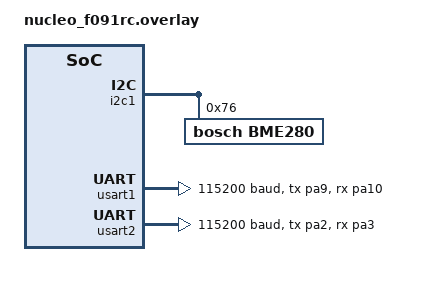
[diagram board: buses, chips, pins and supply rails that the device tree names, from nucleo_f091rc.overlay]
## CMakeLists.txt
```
# SPDX-License-Identifier: Apache-2.0
cmake_minimum_required(VERSION 3.20.0)

find_package(Zephyr REQUIRED HINTS $ENV{ZEPHYR_BASE})
project(WeatherStation)

# Voeg alle source-bestanden toe
target_sources(app PRIVATE
  src/main.c
  src/sensor.c
  src/uart_comm.c
)

# Voeg src directory toe voor headers
target_include_directories(app PRIVATE src)
```

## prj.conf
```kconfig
# --- Console en UART ---
CONFIG_SERIAL=y
CONFIG_UART_CONSOLE=y
CONFIG_CONSOLE=y
CONFIG_PRINTK=y
CONFIG_EARLY_CONSOLE=y

# --- Float support voor printk ---
CONFIG_CBPRINTF_FP_SUPPORT=y
CONFIG_NEWLIB_LIBC=y
CONFIG_NEWLIB_LIBC_FLOAT_PRINTF=y

# --- Vergroot console buffers (tegen message drops) ---
CONFIG_PRINTK_BUFFER_SIZE=4096
CONFIG_LOG_BUFFER_SIZE=4096

# --- UART drivers ---
CONFIG_UART_INTERRUPT_DRIVEN=y
CONFIG_UART_USE_RUNTIME_CONFIGURE=y
CONFIG_UART_STM32=y

# --- I2C en BME280 sensor ---
CONFIG_I2C=y
CONFIG_SENSOR=y
CONFIG_BME280=y

# --- GPIO ---
CONFIG_GPIO=y

# --- Threads / stack ---
CONFIG_MAIN_THREAD_PRIORITY=7
CONFIG_MAIN_STACK_SIZE=4096

# --- Logging (optioneel, voor extra debug) ---
CONFIG_LOG=y
CONFIG_LOG_DEFAULT_LEVEL=3
```

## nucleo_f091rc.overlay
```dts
&i2c1 {
    status = "okay";

    bme280@76 {
        compatible = "bosch,bme280";
        reg = <0x76>;
        label = "BME280";
    };
};


/ {
    chosen {
        zephyr,console = &usart2;  // Console op USART2 (ST-Link)
        zephyr,shell-uart = &usart2;
    };
};

&usart1 {
    status = "okay";
    current-speed = <115200>;
    pinctrl-0 = <&usart1_tx_pa9 &usart1_rx_pa10>;
    pinctrl-names = "default";
};

&usart2 {
    status = "okay";
    current-speed = <115200>;
    pinctrl-0 = <&usart2_tx_pa2 &usart2_rx_pa3>;
    pinctrl-names = "default";
};
```

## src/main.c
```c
/**
 * @file main.c
 * @brief Main application file for the Zephyr-based weather station.
 *
 * This file initializes the UART communication with the ESP8266 WiFi module,
 * connects to a WiFi network, reads environmental sensor data from a BME280 sensor,
 * and periodically sends the measurements to a remote server over HTTP.
 *
 * @details
 * The main loop performs the following steps:
 * 1. Ensures the WiFi module is connected.
 * 2. Reads temperature, humidity, and pressure data.
 * 3. Converts the sensor readings to floating-point values.
 * 4. Sends the data to the server via an HTTP GET request.
 *
 * The loop repeats every `SLEEP_TIME_MS` milliseconds.
 */

#include <zephyr/kernel.h>
#include <zephyr/device.h>
#include <zephyr/sys/printk.h>
#include "sensor.h"
#include "uart_comm.h"

/** @brief WiFi network SSID. */
#define WIFI_SSID "iPhone van Daan"
/** @brief WiFi network password. */
#define WIFI_PASSWORD "yeahyeahyeah"

/** @brief IP address of the remote server. */
#define SERVER_IP "172.20.10.2"
/** @brief Port of the remote server. */
#define SERVER_PORT 3000

/** @brief Delay between sensor data transmissions in milliseconds. */
#define SLEEP_TIME_MS 10000 

/**
 * @brief Main entry point for the weather station application.
 *
 * Initializes UART, connects to WiFi, continuously reads sensor data,
 * and sends it to the configured server.
 *
 * @return This function never returns.
 */

void main(void)
{
    struct sensor_value temp, hum, pres;
    float temp_float, hum_float, pres_float;
    int wifi_status;
    int ret;

    printk("\n=== Weather Station Starting ===\n");

    // Initialiseer UART communicatie met ESP8266
    while (!uart_comm_init()) {
        printk("Failed to initialize UART\n");
    }
    k_sleep(K_MSEC(2000));

    // WiFi Connectie
    uart_send_at_command("AT+CWMODE=1");
    k_sleep(K_MSEC(1000));

    wifi_connect(WIFI_SSID, WIFI_PASSWORD);

    printk("\n=== Starting main loop ===\n");

    while (1) {
         
        // Check WiFi status
        if (!wifi_is_connected()) {
            printk("\nWifi not connected, attempting reconnect\n");
            wifi_connect(WIFI_SSID, WIFI_PASSWORD);
            continue;
        }

        // Lees sensor data
        sensor_thread(&temp, &hum, &pres);

        // Converteer sensor_value naar float
        temp_float = temp.val1 + (temp.val2 / 1000000.0f);
        hum_float = hum.val1 + (hum.val2 / 1000000.0f);
        pres_float = pres.val1 + (pres.val2 / 1000000.0f);

        // Stuur data naar server via HTTP GET
        ret = http_send_sensor_data(SERVER_IP, SERVER_PORT, 
                                     temp_float, hum_float, pres_float);
        
        if (ret != 0) {
            printk("Failed to send data to server\n");
        } 

        k_sleep(K_MSEC(SLEEP_TIME_MS));
    }
}
```

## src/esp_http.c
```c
/**
 * @file esp_http.c
 * @brief Implementation of basic HTTP communication via ESP8266 AT commands.
 */

#include "esp_http.h"
#include <string.h>
 

void esp_connect_wifi(const char* ssid, const char* password) {
    // Set ESP in station mode
    printf("AT+CWMODE=1\r\n");
    // Wait for OK...

    // Connect to WiFi
    printf("AT+CWJAP=\"%s\",\"%s\"\r\n", ssid, password);
    // Wait for "WIFI CONNECTED" and "WIFI GOT IP"
}


void esp_send_get(const char* ip, int port, const char* path) {
    char cmd[256];
    int len;

    // Start TCP connection
    printf("AT+CIPSTART=\"TCP\",\"%s\",%d\r\n", ip, port);
    // Wait for CONNECT

    // Build GET request
    len = snprintf(cmd, sizeof(cmd),
                   "GET %s HTTP/1.1\r\n"
                   "Host: %s:%d\r\n"
                   "Connection: close\r\n\r\n",
                   path, ip, port);

    // Send length
    printf("AT+CIPSEND=%d\r\n", len);
    // Wait for '>'

    // Send GET-request
    printf("%s", cmd);
}
```

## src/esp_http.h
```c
/**
 * @file esp_http.h
 * @brief Simple ESP8266 HTTP client using AT commands.
 *
 * This module provides basic WiFi connection and HTTP GET functionality
 * for an ESP8266 module via UART AT commands.
 *
 * @date 2025-10-27
 * @author Rik
 */

#ifndef WIFI_COMM_H
#define WIFI_COMM_H

#include <zephyr/kernel.h>
#include <stdbool.h>

/**
 * @brief Initialiseer de UART en verbind met WiFi.
 */
void wifi_connect(void);

#endif // WIFI_COMM_H
#ifndef ESP_HTTP_H
#define ESP_HTTP_H

#include <stdio.h>

/**
 * @brief Connect to a WiFi network using the ESP8266.
 *
 * Sends AT commands to configure the ESP8266 and connect to the specified network.
 *
 * @param ssid WiFi SSID (network name)
 * @param password WiFi password
 */
void esp_connect_wifi(const char* ssid, const char* password);

/**
 * @brief Send an HTTP GET request through the ESP8266.
 *
 * Opens a TCP connection and transmits an HTTP GET request to the given IP and port.
 *
 * @param ip Server IP address
 * @param port Server TCP port (e.g., 3000)
 * @param path URL path including query parameters (e.g., "/data?temp=20&hum=70&pres=999")
 */
void esp_send_get(const char* ip, int port, const char* path);

#endif // ESP_HTTP_H
```

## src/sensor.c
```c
/**
 * @file sensor.c
 * @brief Sensor interface implementation for the BME280 environmental sensor.
 *
 * This module handles sensor reading and data retrieval for temperature,
 * humidity, and pressure using the Zephyr sensor API.
 */

#include <zephyr/kernel.h>
#include <zephyr/device.h>
#include <zephyr/devicetree.h>
#include <zephyr/drivers/sensor.h>
#include <zephyr/sys/printk.h>
#include "sensor.h"

/**
 * @brief Read temperature, humidity, and pressure values from the BME280 sensor.
 *
 * @param[out] temp Pointer to store the temperature reading.
 * @param[out] hum  Pointer to store the humidity reading.
 * @param[out] pres Pointer to store the pressure reading.
 *
 * @note This function blocks until all sensor channels have been fetched.
 * It assumes a BME280 sensor is present and ready.
 */

void sensor_thread(struct sensor_value *temp,
                   struct sensor_value *hum,
                   struct sensor_value *pres)
{
    const struct device *dev = DEVICE_DT_GET_ANY(bosch_bme280);

    if (!dev || !device_is_ready(dev)) {
        printk("Error: BME280 device not ready\n");
        return;
    }

    if (sensor_sample_fetch(dev) < 0 ||
        sensor_channel_get(dev, SENSOR_CHAN_AMBIENT_TEMP, temp) < 0 ||
        sensor_channel_get(dev, SENSOR_CHAN_HUMIDITY, hum) < 0 ||
        sensor_channel_get(dev, SENSOR_CHAN_PRESS, pres) < 0) {
        printk("Failed to read sensor\n");
        return;
    }
}
```

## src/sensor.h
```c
#ifndef SENSOR_H
#define SENSOR_H

#include <zephyr/drivers/sensor.h>

void sensor_thread(struct sensor_value *temp,
                   struct sensor_value *hum,
                   struct sensor_value *pres);

#endif
```

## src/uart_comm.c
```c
/**
 * @file uart_comm.c
 * @brief UART communication and WiFi interface using ESP8266.
 *
 * This module implements UART communication with the ESP8266 WiFi module,
 * including sending AT commands, establishing WiFi connections, and
 * transmitting sensor data via HTTP requests.
 */
#include "uart_comm.h"
#include <zephyr/kernel.h>
#include <zephyr/device.h>
#include <zephyr/drivers/uart.h>
#include <zephyr/sys/printk.h>
#include <string.h>

// UART1 device (PA9/PA10 - verbonden met ESP8266)
static const struct device *uart_esp;

// Buffer voor ontvangen data
#define RX_BUFFER_SIZE 512
static char rx_buffer[RX_BUFFER_SIZE];
static volatile size_t rx_index = 0;
static K_SEM_DEFINE(rx_sem, 0, 1);

/**
 * @brief UART interrupt service routine for ESP8266 communication.
 *
 * Handles incoming UART data, stores it in the receive buffer,
 * and releases a semaphore when a newline character is received.
 *
 * @param dev Pointer to UART device.
 * @param user_data Unused.
 */
static void uart_isr(const struct device *dev, void *user_data)
{
    uint8_t c;
    
    if (!uart_irq_update(dev)) {
        return;
    }

    // Lees alle beschikbare bytes in één keer
    while (uart_irq_rx_ready(dev)) {
        if (uart_fifo_read(dev, &c, 1) == 1) {
            // Sla op in buffer
            if (rx_index < RX_BUFFER_SIZE - 1) {
                rx_buffer[rx_index++] = c;
                
                // Print direct naar console (geen buffering)
                printk("%c", c);
                
                // Als we een newline ontvangen, geef semafoor vrij
                if (c == '\n') {
                    k_sem_give(&rx_sem);
                }
            }
        }
    }
}

/**
 * @brief Initialize UART communication with the ESP8266 module.
 *
 * @return 1 on success, 0 if the UART device is not ready.
 */

int uart_comm_init(void)
{
    // Haal UART1 device op
    uart_esp = DEVICE_DT_GET(DT_NODELABEL(usart1));
    
    if (!device_is_ready(uart_esp)) {
        printk("Error: UART1 device not ready\n");
        return 0;
    }
    // Configureer interrupt callback
    uart_irq_callback_user_data_set(uart_esp, uart_isr, NULL);
    uart_irq_rx_enable(uart_esp);
    
    return 1;
}

/**
 * @brief Send an AT command over UART to the ESP8266.
 *
 * @param cmd Null-terminated AT command string (without \r\n).
 * @return 0 on success.
 */
int uart_send_at_command(const char *cmd)
{

    // Reset receive buffer
    rx_index = 0;
    memset(rx_buffer, 0, RX_BUFFER_SIZE);

    // Stuur het commando
    for (size_t i = 0; i < strlen(cmd); i++) {
        uart_poll_out(uart_esp, cmd[i]);
    }
    
    // Stuur CR+LF
    uart_poll_out(uart_esp, '\r');
    uart_poll_out(uart_esp, '\n');

    return 0;
}
/**
 * @brief Attempt to connect to a WiFi network.
 *
 * @param ssid WiFi SSID.
 * @param password WiFi password.
 * @return 1 on successful connection, 0 on failure or timeout.
 */
int wifi_connect(const char *ssid, const char *password)
{
    char cmd[128];
    char response[256];
    int ret;
    
    // Maak connectie commando
    snprintf(cmd, sizeof(cmd), "AT+CWJAP=\"%s\",\"%s\"", ssid, password); 

    uart_send_at_command(cmd);
    
    // Wacht en check meerdere keren
    for (int i = 0; i < 15; i++) {
        k_sleep(K_MSEC(1000));
        
        // Check of we "OK" of "WIFI CONNECTED" hebben ontvangen
        if (strstr(rx_buffer, "OK") != NULL || 
            strstr(rx_buffer, "WIFI CONNECTED") != NULL) {
            k_sleep(K_MSEC(2000));
            return 1;
        }
        
        // Check voor error
        if (strstr(rx_buffer, "FAIL") != NULL || 
            strstr(rx_buffer, "ERROR") != NULL) {
            return 0;
        }
    }   
    printk("\nConnection timeout\n");
    return 0;
}
/**
 * @brief Check if the ESP8266 is connected to a WiFi network.
 *
 * @return 1 if connected, 0 if not connected, -1 if unknown/error.
 */
int wifi_is_connected(void)
{
    // Check WiFi status via CWJAP
    rx_index = 0;
    memset(rx_buffer, 0, RX_BUFFER_SIZE);
    
    uart_send_at_command("AT+CWJAP?");
    k_sleep(K_MSEC(500));
     
    if (strstr(rx_buffer, "No AP") != NULL) {
        return 0;
    }
    if (strstr(rx_buffer, "+CWJAP:") != NULL) {
        return 1;
    }
    
    return -1; // Onbekend/Error
}
/**
 * @brief Send sensor data to a server via HTTP GET.
 *
 * @param host Server IP or hostname.
 * @param port Server port number.
 * @param temp Temperature value.
 * @param hum Humidity value.
 * @param pres Pressure value.
 * @return 0 on success, negative value on failure.
 */
int http_send_sensor_data(const char *host, 
                          int port,
                          float temp, 
                          float hum, 
                          float pres)
{
    char cmd[128];
    char http_request[256];
    int request_len;
    
    snprintf(cmd, sizeof(cmd), "AT+CIPSTART=\"TCP\",\"%s\",%d", host, port);
    
    rx_index = 0;
    memset(rx_buffer, 0, RX_BUFFER_SIZE);
    
    uart_send_at_command(cmd);
    
    // Wacht max 3 seconden op connectie
    for (int i = 0; i < 6; i++) {
        k_sleep(K_MSEC(500));
        
        if (strstr(rx_buffer, "CONNECT") != NULL || 
            strstr(rx_buffer, "ALREADY CONNECTED") != NULL) {
            break;
        }
        
        if (strstr(rx_buffer, "ERROR") != NULL) {
            return -1;
        }
        
        if (strstr(rx_buffer, "CLOSED") != NULL) {
            return -1;
        }
    }
    
    k_sleep(K_MSEC(500)); 
    
    // Stap 2: Bouw HTTP GET request
    snprintf(http_request, sizeof(http_request),
             "GET /data?temp=%.2f&hum=%.2f&pres=%.2f HTTP/1.0\r\nHost: %s\r\n\r\n",
             temp, hum, pres, host);
    
    request_len = strlen(http_request);
    
    // Stap 3: Stuur CIPSEND commando
    snprintf(cmd, sizeof(cmd), "AT+CIPSEND=%d", request_len);
    
    rx_index = 0;
    memset(rx_buffer, 0, RX_BUFFER_SIZE);
    
    uart_send_at_command(cmd);
    k_sleep(K_MSEC(1000));
    
    // Wacht op '>' prompt
    if (strchr(rx_buffer, '>') == NULL) {
        printk("ESP8266 not ready to receive data\n");
        uart_send_at_command("AT+CIPCLOSE");
        k_sleep(K_MSEC(1000));
        return -2;
    }

    // Stap 4: Stuur de HTTP request data 
    uart_send_at_command(http_request);

    // Stap 5: Wacht op server respons
    k_sleep(K_MSEC(2000));
      
    // Stap 6: Sluit connectie
    uart_send_at_command("AT+CIPCLOSE");
    k_sleep(K_MSEC(500));
    
    return 0;
}
```

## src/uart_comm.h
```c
/**
 * @file uart_comm.h
 * @brief UART communication and WiFi control interface for ESP8266.
 */
#ifndef UART_COMM_H
#define UART_COMM_H

#include <zephyr/kernel.h>

/**
 * @brief Initialiseer UART communicatie met ESP8266
 * @return 1 bij succes, 0 bij fout
 */
int uart_comm_init(void);

/**
 * @brief Stuur een AT commando naar ESP8266
 * @param cmd Het AT commando (zonder \r\n, wordt automatisch toegevoegd)
 * @return 0 bij succes, negatieve waarde bij fout
 */
int uart_send_at_command(const char *cmd);

/**
 * @brief Verbind met WiFi netwerk
 * @param ssid WiFi netwerk naam
 * @param password WiFi wachtwoord
 * @return 1 bij succes, 0 bij fout
 */
int wifi_connect(const char *ssid, const char *password);

/**
 * @brief Check of ESP8266 verbonden is met WiFi
 * @return 1 als verbonden, 0 als niet verbonden, negatief bij fout
 */
int wifi_is_connected(void);

/**
 * @brief Stuur HTTP GET request met sensor data
 * @param host Server IP adres 
 * @param port Server poort
 * @param temp Temperatuur waarde
 * @param hum Vochtigheid waarde  
 * @param pres Druk waarde
 * @return 0 bij succes, negatieve waarde bij fout
 */
int http_send_sensor_data(const char *host, 
                          int port,
                          float temp, 
                          float hum, 
                          float pres);

#endif // UART_COMM_H
```
